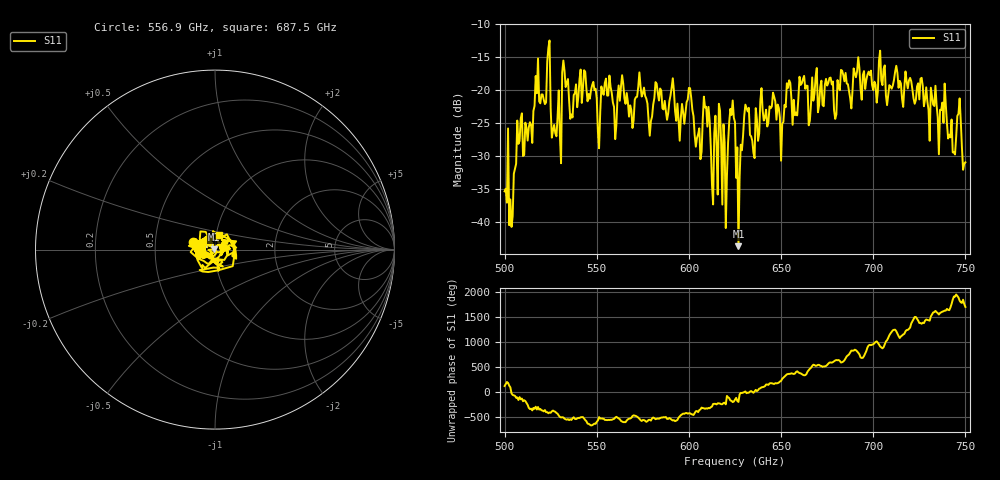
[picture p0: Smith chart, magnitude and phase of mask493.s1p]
!Created with skrf (http://scikit-rf.org).
# GHz S MA R 50.0
!freq magS11 angS11
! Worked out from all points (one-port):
!   401 points, 500 GHz to 750 GHz, reference 50 ohm
!   lowest |S11| = -43.6 dB at 626.9 GHz (marker M1), VSWR 1.01, Z = 49.4 + j0.197 ohm
!   |S11| at or under -10 dB: start of sweep to end of sweep
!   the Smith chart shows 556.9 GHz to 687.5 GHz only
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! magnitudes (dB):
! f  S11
! 500 GHz  -35.3
! 503.8 GHz  -40.7
! 508.1 GHz  -27.7
! 513.8 GHz  -24.8
! 517.5 GHz  -20.5
! 523.8 GHz  -13.6
! 526.9 GHz  -25.3
! 531.2 GHz  -17.3
! 562.5 GHz  -21.6
! 593.8 GHz  -22.0
! 600 GHz  -19.6
! 605.6 GHz  -25.8
! 609.4 GHz  -22.5
! 612.5 GHz  -34.2
! 617.5 GHz  -28.1
! 619.4 GHz  -27.9
! 623.1 GHz  -23.8
! 625 GHz  -24.8
! 626.9 GHz  -43.6
! 631.2 GHz  -22.7
! 634.4 GHz  -27.6
! 640 GHz  -23.1
! 656.2 GHz  -25.2
! 687.5 GHz  -21.2
! 718.8 GHz  -19.7
! 743.1 GHz  -29.4
! 746.2 GHz  -23.6
! 750 GHz  -30.9
